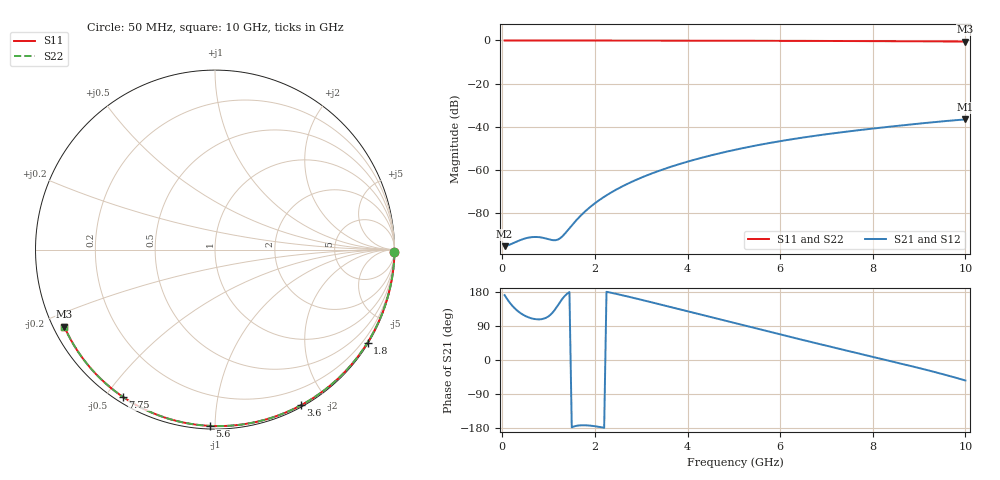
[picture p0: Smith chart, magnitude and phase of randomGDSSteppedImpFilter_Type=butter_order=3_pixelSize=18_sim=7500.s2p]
! freq	dB(S11)	phase(S11)	dB(S12)	phase(S12)
!  dB(S21)	phase(S21)	dB(S22)	phase(S22)
!S-par simulation data
#  GHz  S  DB  R 50
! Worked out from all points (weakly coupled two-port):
!   200 points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, 50 MHz to 10 GHz, reference 50 ohm
!   highest |S21| = -36.66 dB at 10 GHz (marker M1); lowest = -95.5 dB at 50 MHz (marker M2)
!   lowest |S11| = -0.5 dB at 10 GHz (marker M3), VSWR 34.17, Z = 1.55 - j12 ohm
!   |S11| at or under -10 dB: nowhere
!   |S22| runs from -0.5 to 0.0 dB; largest |S21 - S12| = 0
!   S11 on the Smith chart (normalised r, x): 50 MHz: open; 1.8 GHz: 0.03, -3.56; 3.6 GHz: 0.02, -1.69; 5.6 GHz: 0.02, -0.97; 7.75 GHz: 0.02, -0.55; 10 GHz: 0.03, -0.24
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0.05  -0.00 -0.9  -95.50 171.1  -95.50 171.1  -0.00 -0.9
0.45  -0.01 -7.9  -92.20 119.3  -92.20 119.3  -0.01 -7.9
0.85  -0.02 -15.0  -91.49 107.8  -91.49 107.8  -0.02 -15.0
1.3  -0.03 -22.8  -90.89 162.0  -90.89 162.0  -0.03 -22.8
1.75  -0.04 -30.5  -80.13 -172.2  -80.13 -172.2  -0.04 -30.5
1.8  -0.04 -31.4  -79.14 -172.3  -79.14 -172.3  -0.04 -31.4
1.95  -0.04 -33.9  -76.42 -173.9  -76.42 -173.9  -0.04 -33.9
2.1  -0.05 -36.4  -74.03 -176.6  -74.03 -176.6  -0.05 -36.5
2.45  -0.05 -42.3  -69.36 174.8  -69.36 174.8  -0.05 -42.3
2.65  -0.06 -45.7  -67.12 169.2  -67.12 169.2  -0.06 -45.7
2.9  -0.06 -49.8  -64.62 162.0  -64.62 162.0  -0.06 -49.8
3.4  -0.08 -57.9  -60.39 147.0  -60.39 147.0  -0.08 -57.9
3.6  -0.08 -61.1  -58.92 140.9  -58.92 140.9  -0.08 -61.1
4.3  -0.10 -72.1  -54.48 119.5  -54.48 119.5  -0.10 -72.1
5.05  -0.13 -83.5  -50.64 96.5  -50.64 96.5  -0.13 -83.5
5.6  -0.15 -91.7  -48.27 79.7  -48.27 79.7  -0.15 -91.7
6.15  -0.18 -99.6  -46.22 63.0  -46.22 63.0  -0.18 -99.6
6.7  -0.21 -107.4  -44.42 46.5  -44.42 46.5  -0.21 -107.4
7.75  -0.28 -122.0  -41.52 15.7  -41.52 15.7  -0.28 -122.0
8.35  -0.34 -130.3  -40.07 -1.8  -40.07 -1.8  -0.34 -130.3
9.2  -0.42 -141.9  -38.18 -27.4  -38.18 -27.4  -0.42 -141.9
10  -0.51 -152.9  -36.66 -54.0  -36.66 -54.0  -0.51 -152.9
